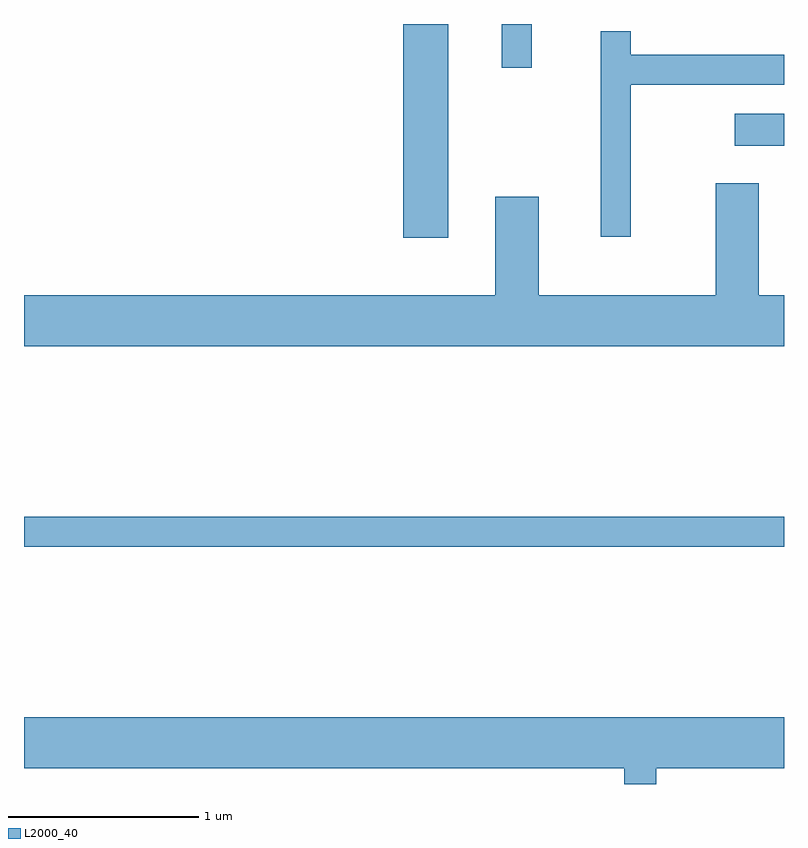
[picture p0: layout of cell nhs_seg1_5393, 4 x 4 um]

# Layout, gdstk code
import gdstk
lib = gdstk.Library(unit=1e-6, precision=1e-09)
def R(c, l, rs):  # rectangles x0, y0, x1, y1
    for r in rs: c.add(gdstk.rectangle(r[:2], r[2:], *l))
def P(c, l, *ps):  # polygons
    for p in ps: c.add(gdstk.Polygon(p, *l))
L2000_40 = (2000, 40)

nhs_seg1_5393 = lib.new_cell('nhs_seg1_5393')
R(nhs_seg1_5393, L2000_40, [(347.611,902.961,351.611,903.119), (349.606,904.586,349.844,905.712), (351.353,905.071,351.611,905.239), (350.126,905.483,350.284,905.712)])
P(nhs_seg1_5393, L2000_40, [(350.804,905.391),(351.611,905.391),(351.611,905.549),(350.804,905.549),(350.804,905.673),(350.646,905.673),(350.646,904.593),(350.804,904.593)],
  [(351.611,904.284),(351.479,904.284),(351.479,904.874),(351.251,904.874),(351.251,904.284),(350.319,904.284),(350.319,904.804),(350.091,904.804),(350.091,904.284),(347.611,904.284),(347.611,904.016),(351.611,904.016)],
  [(350.939,901.796),(351.611,901.796),(351.611,902.064),(347.611,902.064),(347.611,901.796),(350.771,901.796),(350.771,901.712),(350.939,901.712)])

lib.write_gds('nhs_seg1_5393.gds')
